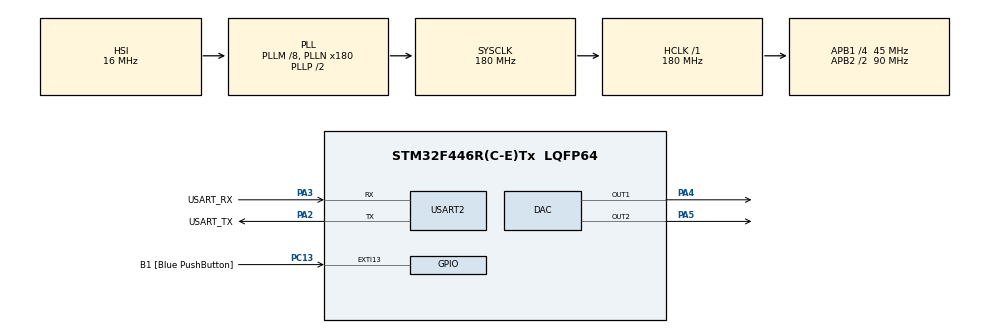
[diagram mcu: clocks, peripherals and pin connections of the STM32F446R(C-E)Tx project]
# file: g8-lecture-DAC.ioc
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Dma.DAC1.0.Direction=DMA_MEMORY_TO_PERIPH
Dma.DAC1.0.FIFOMode=DMA_FIFOMODE_DISABLE
Dma.DAC1.0.Instance=DMA1_Stream5
Dma.DAC1.0.MemDataAlignment=DMA_MDATAALIGN_HALFWORD
Dma.DAC1.0.MemInc=DMA_MINC_ENABLE
Dma.DAC1.0.Mode=DMA_CIRCULAR
Dma.DAC1.0.PeriphDataAlignment=DMA_PDATAALIGN_HALFWORD
Dma.DAC1.0.PeriphInc=DMA_PINC_DISABLE
Dma.DAC1.0.Priority=DMA_PRIORITY_LOW
Dma.Request0=DAC1
Mcu.Family=STM32F4
Mcu.Name=STM32F446R(C-E)Tx
Mcu.Package=LQFP64
NVIC.DMA1_Stream5_IRQn=true\:0\:0\:false\:false\:true\:false
NVIC.PriorityGroup=NVIC_PRIORITYGROUP_0
PA13.GPIO_Label=TMS
PA13.Mode=Serial_Wire
PA13.Signal=SYS_JTMS-SWDIO
PA14.GPIO_Label=TCK
PA14.Mode=Serial_Wire
PA14.Signal=SYS_JTCK-SWCLK
PA2.GPIO_Label=USART_TX
PA2.Mode=Asynchronous
PA2.Signal=USART2_TX
PA3.GPIO_Label=USART_RX
PA3.Mode=Asynchronous
PA3.Signal=USART2_RX
PA4.Signal=COMP_DAC1_group
PA5.Signal=COMP_DAC2_group
PB3.GPIO_Label=SWO
PB3.Signal=SYS_JTDO-SWO
PC13.GPIO_Label=B1 [Blue PushButton]
PC13.GPIO_ModeDefaultEXTI=GPIO_MODE_IT_FALLING
PC13.Signal=GPXTI13
PC14-OSC32_IN.Signal=RCC_OSC32_IN
PC15-OSC32_OUT.Signal=RCC_OSC32_OUT
PH0-OSC_IN.Mode=HSE-External-Oscillator
PH0-OSC_IN.Signal=RCC_OSC_IN
PH1-OSC_OUT.Mode=HSE-External-Oscillator
PH1-OSC_OUT.Signal=RCC_OSC_OUT
ProjectManager.HeapSize=0x200
ProjectManager.StackSize=0x400
ProjectManager.TargetToolchain=SW4STM32
RCC.48MHZClocksFreq_Value=84000000
RCC.AHBFreq_Value=180000000
RCC.APB1CLKDivider=RCC_HCLK_DIV4
RCC.APB1Freq_Value=45000000
RCC.APB1TimFreq_Value=90000000
RCC.APB2CLKDivider=RCC_HCLK_DIV2
RCC.APB2Freq_Value=90000000
RCC.APB2TimFreq_Value=180000000
RCC.CortexFreq_Value=180000000
RCC.FLatency-AdvancedSettings=FLASH_LATENCY_5
RCC.HCLKFreq_Value=180000000
RCC.HSE_VALUE=8000000
RCC.HSI_VALUE=16000000
RCC.PLLM=8
RCC.PLLN=180
RCC.SYSCLKFreq_VALUE=180000000
RCC.SYSCLKSource=RCC_SYSCLKSOURCE_PLLCLK
RCC.USBFreq_Value=180000000
RCC.VCOOutputFreq_Value=360000000
SH.COMP_DAC1_group.0=DAC_OUT1,DAC_OUT1
SH.COMP_DAC2_group.0=DAC_OUT2,DAC_OUT2
TIM6.Period=4-1
TIM6.Prescaler=45-1
TIM6.TIM_MasterOutputTrigger=TIM_TRGO_UPDATE
USART2.VirtualMode=VM_ASYNC
VP_TIM6_VS_ClockSourceINT.Mode=Enable_Timer
board=NUCLEO-F446RE

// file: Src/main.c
/**
  ******************************************************************************
  * @file           : main.c
  * @brief          : Main program body
  ******************************************************************************
  ** This notice applies to any and all portions of this file
  * that are not between comment pairs USER CODE BEGIN and
  * USER CODE END. Other portions of this file, whether
  * inserted by the user or by software development tools
  * are owned by their respective copyright owners.
  *
  * COPYRIGHT(c) 2018 STMicroelectronics
  *
  * Redistribution and use in source and binary forms, with or without modification,
  * are permitted provided that the following conditions are met:
  *   1. Redistributions of source code must retain the above copyright notice,
  *      this list of conditions and the following disclaimer.
  *   2. Redistributions in binary form must reproduce the above copyright notice,
  *      this list of conditions and the following disclaimer in the documentation
  *      and/or other materials provided with the distribution.
  *   3. Neither the name of STMicroelectronics nor the names of its contributors
  *      may be used to endorse or promote products derived from this software
  *      without specific prior written permission.
  *
  * THIS SOFTWARE IS PROVIDED BY THE COPYRIGHT HOLDERS AND CONTRIBUTORS "AS IS"
  * AND ANY EXPRESS OR IMPLIED WARRANTIES, INCLUDING, BUT NOT LIMITED TO, THE
  * IMPLIED WARRANTIES OF MERCHANTABILITY AND FITNESS FOR A PARTICULAR PURPOSE ARE
  * DISCLAIMED. IN NO EVENT SHALL THE COPYRIGHT HOLDER OR CONTRIBUTORS BE LIABLE
  * FOR ANY DIRECT, INDIRECT, INCIDENTAL, SPECIAL, EXEMPLARY, OR CONSEQUENTIAL
  * DAMAGES (INCLUDING, BUT NOT LIMITED TO, PROCUREMENT OF SUBSTITUTE GOODS OR
  * SERVICES; LOSS OF USE, DATA, OR PROFITS; OR BUSINESS INTERRUPTION) HOWEVER
  * CAUSED AND ON ANY THEORY OF LIABILITY, WHETHER IN CONTRACT, STRICT LIABILITY,
  * OR TORT (INCLUDING NEGLIGENCE OR OTHERWISE) ARISING IN ANY WAY OUT OF THE USE
  * OF THIS SOFTWARE, EVEN IF ADVISED OF THE POSSIBILITY OF SUCH DAMAGE.
  *
  ******************************************************************************
  */
#include "main.h"
#include "stm32f4xx_hal.h"
#include "dac.h"
#include "dma.h"
#include "tim.h"
#include "usart.h"
#include "gpio.h"
#include "math.h"

/* USER CODE BEGIN Includes */
#define NOTE_c 261
#define NOTE_d 294
#define NOTE_e 329
#define NOTE_f 349
#define NOTE_g 391
#define NOTE_gS 415
#define NOTE_a 440
#define NOTE_aS 455
#define NOTE_b 466
#define NOTE_cH 523
#define NOTE_cSH 554
#define NOTE_dH 587
#define NOTE_dSH 622
#define NOTE_eH 659
#define NOTE_fH 698
#define NOTE_fSH 740
#define NOTE_gH 784
#define NOTE_gSH 830
#define NOTE_aH 880
/* USER CODE END Includes */

/* USER CODE BEGIN PV */
/* Private variables ---------------------------------------------------------*/

uint16_t buf[2048];

/* USER CODE END PV */

void SystemClock_Config(void);

/* USER CODE BEGIN PFP */
/* Private function prototypes -----------------------------------------------*/

/* USER CODE END PFP */

int main(void)
{

  /* MCU Configuration----------------------------------------------------------*/

  /* Reset of all peripherals, Initializes the Flash interface and the Systick. */
  HAL_Init();

  /* Configure the system clock */
  SystemClock_Config();

  /* Initialize all configured peripherals */
  MX_GPIO_Init();
  MX_DMA_Init();
  MX_USART2_UART_Init();
  MX_DAC_Init();
  MX_TIM6_Init();
  /* USER CODE BEGIN 2 */

  /* Fill in the buf[i] values here */
  	for (int i = 0; i < 2048; i++) {
  		buf[i] = sinf(i * 2* 3.14/2047)  * 2047 + 2047;
  	}

  	/* Channel 1 using DMA with TIM6 Trigger*/
  	HAL_DAC_Start_DMA(&hdac, DAC_CHANNEL_1, (uint32_t *) buf, 2048, DAC_ALIGN_12B_R);
  	HAL_TIM_Base_Start(&htim6);

  	/* Channel 2 with no trigger */
  	uint32_t i = 0;
  	HAL_DAC_Start(&hdac, DAC_CHANNEL_2);

  /* USER CODE END 2 */

  /* Infinite loop */
  while (1)
  {

	  HAL_DAC_SetValue(&hdac, DAC_CHANNEL_2, DAC_ALIGN_12B_R, i++ % 4096);

  }

}

void SystemClock_Config(void)
{

  RCC_OscInitTypeDef RCC_OscInitStruct;
  RCC_ClkInitTypeDef RCC_ClkInitStruct;

    /**Configure the main internal regulator output voltage
    */
  __HAL_RCC_PWR_CLK_ENABLE();

  __HAL_PWR_VOLTAGESCALING_CONFIG(PWR_REGULATOR_VOLTAGE_SCALE1);

    /**Initializes the CPU, AHB and APB busses clocks
    */
  RCC_OscInitStruct.OscillatorType = RCC_OSCILLATORTYPE_HSI;
  RCC_OscInitStruct.HSIState = RCC_HSI_ON;
  RCC_OscInitStruct.HSICalibrationValue = 16;
  RCC_OscInitStruct.PLL.PLLState = RCC_PLL_ON;
  RCC_OscInitStruct.PLL.PLLSource = RCC_PLLSOURCE_HSI;
  RCC_OscInitStruct.PLL.PLLM = 8;
  RCC_OscInitStruct.PLL.PLLN = 180;
  RCC_OscInitStruct.PLL.PLLP = RCC_PLLP_DIV2;
  RCC_OscInitStruct.PLL.PLLQ = 2;
  RCC_OscInitStruct.PLL.PLLR = 2;
  if (HAL_RCC_OscConfig(&RCC_OscInitStruct) != HAL_OK)
  {
    _Error_Handler(__FILE__, __LINE__);
  }

    /**Activate the Over-Drive mode
    */
  if (HAL_PWREx_EnableOverDrive() != HAL_OK)
  {
    _Error_Handler(__FILE__, __LINE__);
  }

    /**Initializes the CPU, AHB and APB busses clocks
    */
  RCC_ClkInitStruct.ClockType = RCC_CLOCKTYPE_HCLK|RCC_CLOCKTYPE_SYSCLK
                              |RCC_CLOCKTYPE_PCLK1|RCC_CLOCKTYPE_PCLK2;
  RCC_ClkInitStruct.SYSCLKSource = RCC_SYSCLKSOURCE_PLLCLK;
  RCC_ClkInitStruct.AHBCLKDivider = RCC_SYSCLK_DIV1;
  RCC_ClkInitStruct.APB1CLKDivider = RCC_HCLK_DIV4;
  RCC_ClkInitStruct.APB2CLKDivider = RCC_HCLK_DIV2;

  if (HAL_RCC_ClockConfig(&RCC_ClkInitStruct, FLASH_LATENCY_5) != HAL_OK)
  {
    _Error_Handler(__FILE__, __LINE__);
  }

    /**Configure the Systick interrupt time
    */
  HAL_SYSTICK_Config(HAL_RCC_GetHCLKFreq()/1000);

    /**Configure the Systick
    */
  HAL_SYSTICK_CLKSourceConfig(SYSTICK_CLKSOURCE_HCLK);

  /* SysTick_IRQn interrupt configuration */
  HAL_NVIC_SetPriority(SysTick_IRQn, 0, 0);
}

void _Error_Handler(char *file, int line)
{
  while(1)
  {
  }
}

/************************ (C) COPYRIGHT STMicroelectronics *****END OF FILE****/
